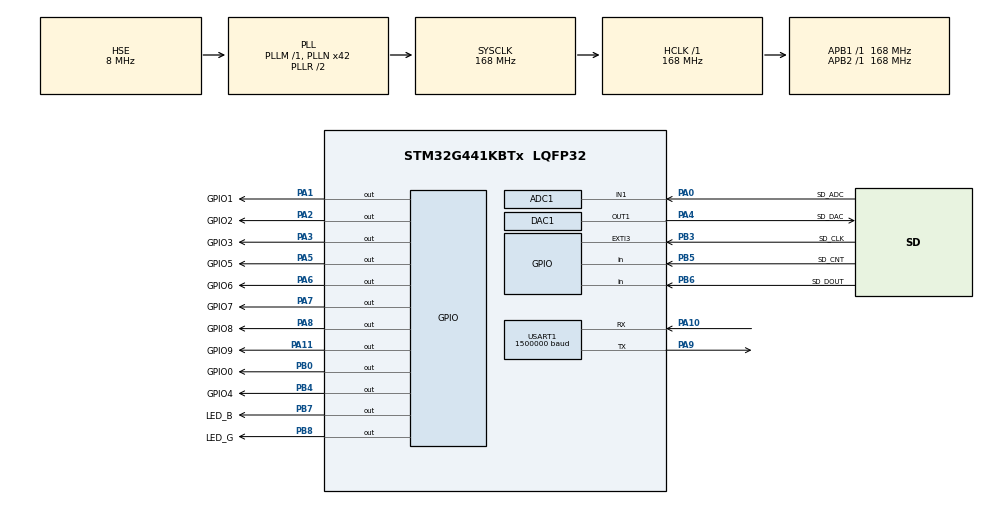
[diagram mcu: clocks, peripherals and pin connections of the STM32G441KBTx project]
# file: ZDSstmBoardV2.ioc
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ADC1.Channel-0\#ChannelRegularConversion=ADC_CHANNEL_1
ADC1.ClockPrescaler=ADC_CLOCK_ASYNC_DIV8
ADC1.NbrOfConversionFlag=1
ADC1.OffsetNumber-0\#ChannelRegularConversion=ADC_OFFSET_NONE
ADC1.Rank-0\#ChannelRegularConversion=1
ADC1.SamplingTime-0\#ChannelRegularConversion=ADC_SAMPLETIME_24CYCLES_5
ADC1.master=1
Dma.Request0=USART1_TX
Dma.USART1_TX.0.Direction=DMA_MEMORY_TO_PERIPH
Dma.USART1_TX.0.EventEnable=DISABLE
Dma.USART1_TX.0.Instance=DMA1_Channel1
Dma.USART1_TX.0.MemDataAlignment=DMA_MDATAALIGN_BYTE
Dma.USART1_TX.0.MemInc=DMA_MINC_ENABLE
Dma.USART1_TX.0.Mode=DMA_NORMAL
Dma.USART1_TX.0.PeriphDataAlignment=DMA_PDATAALIGN_BYTE
Dma.USART1_TX.0.PeriphInc=DMA_PINC_DISABLE
Dma.USART1_TX.0.Polarity=HAL_DMAMUX_REQ_GEN_RISING
Dma.USART1_TX.0.Priority=DMA_PRIORITY_LOW
Dma.USART1_TX.0.RequestNumber=1
Dma.USART1_TX.0.SignalID=NONE
Dma.USART1_TX.0.SyncEnable=DISABLE
Dma.USART1_TX.0.SyncPolarity=HAL_DMAMUX_SYNC_NO_EVENT
Dma.USART1_TX.0.SyncRequestNumber=1
Dma.USART1_TX.0.SyncSignalID=NONE
Mcu.Family=STM32G4
Mcu.Name=STM32G441KBTx
Mcu.Package=LQFP32
NVIC.ADC1_2_IRQn=true\:0\:0\:false\:false\:true\:true\:true\:true
NVIC.DMA1_Channel1_IRQn=true\:0\:0\:false\:false\:true\:false\:true\:true
NVIC.EXTI3_IRQn=true\:0\:0\:false\:false\:false\:true\:true\:true
NVIC.PriorityGroup=NVIC_PRIORITYGROUP_4
NVIC.TIM3_IRQn=true\:0\:0\:false\:false\:true\:true\:true\:true
NVIC.TIM4_IRQn=true\:0\:0\:false\:false\:true\:true\:true\:true
NVIC.USART1_IRQn=true\:0\:0\:false\:false\:true\:true\:true\:true
PA0.GPIO_Label=SD_ADC
PA0.Mode=IN1-Single-Ended
PA0.Signal=ADC1_IN1
PA1.GPIO_Label=GPIO1
PA1.Signal=GPIO_Output
PA10.Mode=Asynchronous
PA10.Signal=USART1_RX
PA11.GPIO_Label=GPIO9
PA11.Signal=GPIO_Output
PA13.Mode=Serial_Wire
PA13.Signal=SYS_JTMS-SWDIO
PA14.Mode=Serial_Wire
PA14.Signal=SYS_JTCK-SWCLK
PA2.GPIO_Label=GPIO2
PA2.Signal=GPIO_Output
PA3.GPIO_Label=GPIO3
PA3.Signal=GPIO_Output
PA4.GPIO_Label=SD_DAC
PA4.Signal=COMP_DAC11_group
PA5.GPIO_Label=GPIO5
PA5.Signal=GPIO_Output
PA6.GPIO_Label=GPIO6
PA6.Signal=GPIO_Output
PA7.GPIO_Label=GPIO7
PA7.Signal=GPIO_Output
PA8.GPIO_Label=GPIO8
PA8.Signal=GPIO_Output
PA9.Mode=Asynchronous
PA9.Signal=USART1_TX
PB0.GPIO_Label=GPIO0
PB0.Signal=GPIO_Output
PB3.GPIO_Label=SD_CLK
PB3.GPIO_ModeDefaultEXTI=GPIO_MODE_IT_FALLING
PB3.Signal=GPXTI3
PB4.GPIO_Label=GPIO4
PB4.Signal=GPIO_Output
PB5.GPIO_Label=SD_CNT
PB5.Signal=GPIO_Input
PB6.GPIO_Label=SD_DOUT
PB6.Signal=GPIO_Input
PB7.GPIO_Label=LED_B
PB7.Signal=GPIO_Output
PB8-BOOT0.GPIO_Label=LED_G
PB8-BOOT0.Signal=GPIO_Output
PF0-OSC_IN.Mode=HSE-External-Oscillator
PF0-OSC_IN.Signal=RCC_OSC_IN
PF1-OSC_OUT.Mode=HSE-External-Oscillator
PF1-OSC_OUT.Signal=RCC_OSC_OUT
ProjectManager.HeapSize=0x200
ProjectManager.StackSize=0x400
ProjectManager.TargetToolchain=STM32CubeIDE
RCC.ADC12Freq_Value=168000000
RCC.AHBFreq_Value=168000000
RCC.APB1Freq_Value=168000000
RCC.APB1TimFreq_Value=168000000
RCC.APB2Freq_Value=168000000
RCC.APB2TimFreq_Value=168000000
RCC.CortexFreq_Value=168000000
RCC.EXTERNAL_CLOCK_VALUE=12288000
RCC.HCLKFreq_Value=168000000
RCC.HSE_VALUE=8000000
RCC.HSI48_VALUE=48000000
RCC.HSI_VALUE=16000000
RCC.LSE_VALUE=32768
RCC.PLLN=42
RCC.PLLSourceVirtual=RCC_PLLSOURCE_HSE
RCC.SYSCLKFreq_VALUE=168000000
RCC.SYSCLKSource=RCC_SYSCLKSOURCE_PLLCLK
RCC.USBFreq_Value=168000000
RCC.VCOOutputFreq_Value=336000000
SH.COMP_DAC11_group.0=DAC1_OUT1,DAC_OUT1
TIM2.Prescaler=167
TIM3.PeriodNoDither=16799
TIM3.Prescaler=9
TIM4.PeriodNoDither=999
TIM4.Prescaler=167
USART1.BaudRate=1500000
USART1.VirtualMode-Asynchronous=VM_ASYNC
VP_TIM2_VS_ClockSourceINT.Mode=Internal
VP_TIM3_VS_ClockSourceINT.Mode=Internal
VP_TIM4_VS_ClockSourceINT.Mode=Internal
board=custom

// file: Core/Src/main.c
/* USER CODE BEGIN Header */
/**
  ******************************************************************************
  * @file           : main.c
  * @brief          : Main program body
  ******************************************************************************
  * @attention
  *
  * Copyright (c) 2024 STMicroelectronics.
  * All rights reserved.
  *
  * This software is licensed under terms that can be found in the LICENSE file
  * in the root directory of this software component.
  * If no LICENSE file comes with this software, it is provided AS-IS.
  *
  ******************************************************************************
  */
/* USER CODE END Header */
#include "main.h"

/* USER CODE BEGIN Includes */
#include "fir.h"

/* USER CODE END Includes */

ADC_HandleTypeDef hadc1;

DAC_HandleTypeDef hdac1;

TIM_HandleTypeDef htim2;
TIM_HandleTypeDef htim3;
TIM_HandleTypeDef htim4;

UART_HandleTypeDef huart1;
DMA_HandleTypeDef hdma_usart1_tx;

void SystemClock_Config(void);
static void MX_GPIO_Init(void);
static void MX_DMA_Init(void);
static void MX_ADC1_Init(void);
static void MX_DAC1_Init(void);
static void MX_USART1_UART_Init(void);
static void MX_TIM3_Init(void);
static void MX_TIM2_Init(void);
static void MX_TIM4_Init(void);
/* USER CODE BEGIN PFP */
volatile uint16_t clockCounter = 0;
volatile int32_t decRatio = 32; // 14bit output
volatile uint8_t sendFlag = 0;
volatile uint8_t uartDmaFlag = 0;
volatile uint8_t dmaBuff[128]={'t','e','s','t','\r','\n'};
volatile uint8_t dmaSize = 0;

uint8_t printNumToBuff(uint8_t offset, uint8_t *buff, int32_t val, uint8_t dig, uint8_t signs) ;
volatile int32_t actFirValDec = 0;
volatile uint8_t actAdcFlag = 0;
volatile uint8_t adcRunning = 0;
volatile int32_t actFirVal = 0;
volatile int32_t actAdcVal = 0;
volatile float outValue = 0;
volatile int32_t accValue = 0;

#define OFFmode	0
#define FIRmode	1
#define MAmode	2
#define SARmode	3
#define RAWmode	4
#define SINCmode 5
#define TRACKmode 6

volatile uint8_t mode = OFFmode;
volatile uint8_t rxData = 0;

volatile int64_t Integrator_1 = 0;
volatile int64_t Integrator_2 = 0;
volatile int64_t Integrator_3 = 0;
volatile int64_t Integrator_3_d2 = 0;
volatile int64_t diff_1 = 0;
volatile int64_t diff_2 = 0;
volatile int64_t diff_3 = 0;
volatile int64_t diff_1_d = 0;
volatile int64_t diff_2_d = 0;

volatile int32_t uartRxCt=0;
volatile int32_t uartTxCt=0;
volatile float MAoutput = 0;

#define LOW		0
#define HIGH	1
volatile int32_t adcTrackingCount = 0;
volatile int32_t test_cnt = 0;

MovingAverage_t ma_filter;
volatile uint32_t lastDecRatio = 0;

/* USER CODE END PFP */

/* USER CODE BEGIN 0 */
void sincReset(void){
	diff_1  = 0;
	diff_3 = 0;
	diff_2 = 0;
	diff_1_d = 0;
	diff_2_d = 0;
	Integrator_1 = 0;
	Integrator_2 = 0;
	Integrator_3 = 0;
	Integrator_3_d2 = 0;
}

void HAL_UART_RxCpltCallback(UART_HandleTypeDef *huart){
	uartRxCt=200;

	Integrator_1 =0;
	Integrator_2 =0;
	Integrator_3 =0;

	switch(rxData){

		case 'h': mode = SARmode; decRatio = 1;    break; // SAR 0 0 ... up to 5 kHz
		case 'i': mode = RAWmode; decRatio = 1;    break; // RAW (1/0) ... up to 50 kHz

		case 'j': mode = SINCmode; decRatio = 32;   break; // SAR SINC MA ... up to 100kHz
		case 'k': mode = SINCmode; decRatio = 64;   break; // SAR SINC MA ... up to 100kHz
		case 'l': mode = SINCmode; decRatio = 128;  break; // SAR SINC MA ... up to 100kHz
		case 'm': mode = SINCmode; decRatio = 256;  break; // SAR SINC MA ... up to 100kHz
		case 'n': mode = SINCmode; decRatio = 512;  break; // SAR SINC MA ... up to 100kHz
		case 'o': mode = SINCmode; decRatio = 1024; break; // SAR SINC MA ... up to 100kHz

		case 'r': mode = TRACKmode; htim4.Instance->ARR = 999; break; // 1kHz
		case 's': mode = TRACKmode; htim4.Instance->ARR = 99; break; // 10kHz
		case 't': mode = TRACKmode; htim4.Instance->ARR = 19; break; // 50kHz

		default: break;
	}
	if(lastDecRatio != decRatio){
		lastDecRatio = decRatio;
		MovingAverage_SetSize(&ma_filter, decRatio);
		sincReset();
	}

	  UART_Start_Receive_IT(&huart1, (uint8_t*)&rxData, 1);
}

void EXTI3_IRQHandler(void){
	if(__HAL_GPIO_EXTI_GET_IT(SD_CLK_Pin) != 0x00u) {
	    __HAL_GPIO_EXTI_CLEAR_IT(SD_CLK_Pin);
	    if(mode!=RAWmode){
    	if(mode!=SARmode){
    		if(mode!=OFFmode){
    			int32_t data_in = 0;
				if(HAL_GPIO_ReadPin(SD_DOUT_GPIO_Port, SD_DOUT_Pin)==GPIO_PIN_RESET){
					//accValue += 10000;
					data_in = 1;
					//if(mode == FIRmode){
					//	actFirVal = updateFIR(+10000);
					//}
				}else{
					//accValue -= 10000;
					data_in = -1;
					//if(mode == FIRmode){
					//	actFirVal = updateFIR(-10000);
					//}
				}
		        MAoutput = MovingAverage_Update(&ma_filter, data_in*10000);

				if(clockCounter<(decRatio-1)){
					clockCounter++;
				}else{
					clockCounter=0;

					diff_3 = diff_2 - diff_2_d;
					diff_2_d = diff_2;
					diff_2 = diff_1 - diff_1_d;
					diff_1_d = diff_1;
					diff_1 = Integrator_3 - Integrator_3_d2;
					Integrator_3_d2 = Integrator_3;

					outValue = diff_3*10000.0f;

					accValue = 0;
					sendFlag = 1;
					if(adcRunning==0){
						HAL_ADC_Start_IT(&hadc1);
						adcRunning = 1;
					}
				}
				Integrator_3 += Integrator_2;
				Integrator_2 += Integrator_1;
				Integrator_1 += data_in;
    		}
    	}else{
			actFirValDec = 0;
			outValue = 0;
			sendFlag = 1;
    		if(adcRunning==0){
    	 	  HAL_ADC_Start_IT(&hadc1);
    	 	  adcRunning = 1;
    		}
			}
		} else {
			if (HAL_GPIO_ReadPin(SD_DOUT_GPIO_Port, SD_DOUT_Pin) == GPIO_PIN_RESET) {
				if (uartDmaFlag == 0) {
					dmaSize = 0;
					*(dmaBuff + dmaSize) = '0';
					dmaSize++;
					*(dmaBuff + dmaSize) = '\n';
					dmaSize++;
					HAL_UART_Transmit_DMA(&huart1, (uint8_t*)dmaBuff, dmaSize);
					uartDmaFlag = 1;
				}
			} else {
				if (uartDmaFlag == 0) {
					dmaSize = 0;
					*(dmaBuff + dmaSize) = '1';
					dmaSize++;
					*(dmaBuff + dmaSize) = '\n';
					dmaSize++;
					HAL_UART_Transmit_DMA(&huart1, (uint8_t*)dmaBuff, dmaSize);
					uartDmaFlag = 1;
				}
			}
		}
	}
}

void HAL_UART_TxCpltCallback(UART_HandleTypeDef *huart){
	uartDmaFlag  = 0;
	uartTxCt=200;
}

uint8_t printNumToBuff(uint8_t offset, uint8_t *buff, int32_t val, uint8_t dig, uint8_t signs) {
	uint8_t pos = offset;
	uint8_t i = 0;
	uint8_t digits[40];

	if (val < 0) {
		val *= -1;
		*(buff+pos) = '-';
		pos++;
	} else {
		if(signs){
			*(buff+pos) = '+';
			pos++;
		}
	}

		while (val > 0) {
			digits[i] = val % 10;
			val /= 10;
			i++;
		}
		for (uint8_t x = dig; x > 0; x--) {
			if (i < x) {
				*(buff+pos) = '0';
				pos++;
			}
		}
		for (uint8_t x = 0; x < i; x++) {
			*(buff+pos)  = digits[i - x - 1] + 0x30;
			pos++;
		}
		return pos;
}

void HAL_ADC_ConvCpltCallback(ADC_HandleTypeDef *hadc){
	  adcRunning = 0;
	  actAdcVal = HAL_ADC_GetValue(hadc);
	  actAdcFlag = 1;
}

void myDelayUs(uint32_t time){
htim2.Instance->CNT = 0;
while((htim2.Instance->CNT)<time);
}

void writeGPIO(uint8_t pinNum, uint8_t state){
switch(pinNum){
case 0: if(state){HAL_GPIO_WritePin(GPIO0_GPIO_Port, GPIO0_Pin, GPIO_PIN_SET);}else{HAL_GPIO_WritePin(GPIO0_GPIO_Port, GPIO0_Pin, GPIO_PIN_RESET);} break;
case 1: if(state){HAL_GPIO_WritePin(GPIO1_GPIO_Port, GPIO1_Pin, GPIO_PIN_SET);}else{HAL_GPIO_WritePin(GPIO1_GPIO_Port, GPIO1_Pin, GPIO_PIN_RESET);}break;
case 2: if(state){HAL_GPIO_WritePin(GPIO2_GPIO_Port, GPIO2_Pin, GPIO_PIN_SET);}else{HAL_GPIO_WritePin(GPIO2_GPIO_Port, GPIO2_Pin, GPIO_PIN_RESET);}break;
case 3: if(state){HAL_GPIO_WritePin(GPIO3_GPIO_Port, GPIO3_Pin, GPIO_PIN_SET);}else{HAL_GPIO_WritePin(GPIO3_GPIO_Port, GPIO3_Pin, GPIO_PIN_RESET);}break;
case 4: if(state){HAL_GPIO_WritePin(GPIO4_GPIO_Port, GPIO4_Pin, GPIO_PIN_SET);}else{HAL_GPIO_WritePin(GPIO4_GPIO_Port, GPIO4_Pin, GPIO_PIN_RESET);}break;
case 5: if(state){HAL_GPIO_WritePin(GPIO5_GPIO_Port, GPIO5_Pin, GPIO_PIN_SET);}else{HAL_GPIO_WritePin(GPIO5_GPIO_Port, GPIO5_Pin, GPIO_PIN_RESET);}break;
case 6: if(state){HAL_GPIO_WritePin(GPIO6_GPIO_Port, GPIO6_Pin, GPIO_PIN_SET);}else{HAL_GPIO_WritePin(GPIO6_GPIO_Port, GPIO6_Pin, GPIO_PIN_RESET);}break;
case 7: if(state){HAL_GPIO_WritePin(GPIO7_GPIO_Port, GPIO7_Pin, GPIO_PIN_SET);}else{HAL_GPIO_WritePin(GPIO7_GPIO_Port, GPIO7_Pin, GPIO_PIN_RESET);}break;
case 8: if(state){HAL_GPIO_WritePin(GPIO8_GPIO_Port, GPIO8_Pin, GPIO_PIN_SET);}else{HAL_GPIO_WritePin(GPIO8_GPIO_Port, GPIO8_Pin, GPIO_PIN_RESET);}break;
case 9: if(state){HAL_GPIO_WritePin(GPIO9_GPIO_Port, GPIO9_Pin, GPIO_PIN_SET);}else{HAL_GPIO_WritePin(GPIO9_GPIO_Port, GPIO9_Pin, GPIO_PIN_RESET);}break;
default: break;
}
}

void writeDACcode(uint8_t code){
writeGPIO(4, LOW);
if(code&1){writeGPIO(3, HIGH);}else{writeGPIO(3, LOW);}
if(code&2){writeGPIO(2, HIGH);}else{writeGPIO(2, LOW);}
if(code&4){writeGPIO(1, HIGH);}else{writeGPIO(1, LOW);}
if(code&8){writeGPIO(0, HIGH);}else{writeGPIO(0, LOW);}
myDelayUs(1);
writeGPIO(4, HIGH);
myDelayUs(1);
}

void adcTracking(void){
	if(HAL_GPIO_ReadPin(SD_CNT_GPIO_Port, SD_CNT_Pin)==GPIO_PIN_SET){
		adcTrackingCount--;
	}else{
		adcTrackingCount++;
	}
	if(adcTrackingCount<0){
		adcTrackingCount = 0;
	}
	if(adcTrackingCount>15){
		adcTrackingCount = 15;
	}
	writeDACcode(adcTrackingCount);
	if(uartDmaFlag == 0){
		dmaSize = 1;
		*(dmaBuff+0) = adcTrackingCount;
		HAL_UART_Transmit_IT(&huart1, (uint8_t*)dmaBuff, dmaSize);
		uartDmaFlag = 1;
	}
}

void HAL_TIM_PeriodElapsedCallback(TIM_HandleTypeDef *htim){
if(htim==&htim3){
	if(uartRxCt>0){
		HAL_GPIO_WritePin(LED_B_GPIO_Port, LED_B_Pin, GPIO_PIN_SET);
		uartRxCt--;
	}else{
		HAL_GPIO_WritePin(LED_B_GPIO_Port, LED_B_Pin, GPIO_PIN_RESET);
	}
	if(uartTxCt>0){
		HAL_GPIO_WritePin(LED_G_GPIO_Port, LED_G_Pin, GPIO_PIN_SET);
		uartTxCt--;
	}else{
		HAL_GPIO_WritePin(LED_G_GPIO_Port, LED_G_Pin, GPIO_PIN_RESET);
	}
}
if(htim==&htim4){
	if(mode==TRACKmode){
		adcTracking();
	}
}
}

/* USER CODE END 0 */

int main(void)
{

  /* MCU Configuration--------------------------------------------------------*/

  /* Reset of all peripherals, Initializes the Flash interface and the Systick. */
  HAL_Init();

  /* USER CODE BEGIN Init */
  HAL_Delay(1000);
  /* USER CODE END Init */

  /* Configure the system clock */
  SystemClock_Config();

  /* Initialize all configured peripherals */
  MX_GPIO_Init();
  MX_DMA_Init();
  MX_ADC1_Init();
  MX_DAC1_Init();
  MX_USART1_UART_Init();
  MX_TIM3_Init();
  MX_TIM2_Init();
  MX_TIM4_Init();
  /* USER CODE BEGIN 2 */

  MovingAverage_Init(&ma_filter, 32);

  HAL_TIM_Base_Start(&htim2);
  HAL_Delay(100);
  for(uint8_t i=0;i<5;i++){
	  HAL_GPIO_WritePin(LED_B_GPIO_Port, LED_B_Pin, GPIO_PIN_SET);
	  HAL_GPIO_WritePin(LED_G_GPIO_Port, LED_G_Pin, GPIO_PIN_SET);
	  HAL_Delay(250);
	  HAL_GPIO_WritePin(LED_B_GPIO_Port, LED_B_Pin, GPIO_PIN_RESET);
	  HAL_GPIO_WritePin(LED_G_GPIO_Port, LED_G_Pin, GPIO_PIN_RESET);
	  HAL_Delay(250);
  }
  UART_Start_Receive_IT(&huart1, (uint8_t*)&rxData, 1);
  HAL_TIM_Base_Start_IT(&htim3);
  HAL_TIM_Base_Start_IT(&htim4);

  /* USER CODE END 2 */

  /* Infinite loop */
  while (1)
  {

    /* USER CODE BEGIN 3 */
	  if((mode!=RAWmode)&&(mode!=OFFmode)&&(mode!=TRACKmode)&&(sendFlag==1)&&(actAdcFlag==1)){
		  if(uartDmaFlag == 0){
			  dmaSize = printNumToBuff(0, (uint8_t*)dmaBuff, actAdcVal, 1, 1);
			  *(dmaBuff+dmaSize) = ' ';
			  dmaSize++;
			  dmaSize = printNumToBuff(dmaSize, (uint8_t*)dmaBuff, outValue/(decRatio*decRatio*decRatio), 1, 1);
			  *(dmaBuff+dmaSize) = ' ';
			  dmaSize++;
			  dmaSize = printNumToBuff(dmaSize, (uint8_t*)dmaBuff, MAoutput, 1, 1);
			  *(dmaBuff+dmaSize) = '\r';
			  dmaSize++;
			  *(dmaBuff+dmaSize) = '\n';
			  dmaSize++;
			  HAL_UART_Transmit_DMA(&huart1, (uint8_t*)dmaBuff, dmaSize);
			  uartDmaFlag = 1;
		  }
		  sendFlag = 0;
		  actAdcFlag = 0;
	  }else if(mode==OFFmode){
		  if(uartDmaFlag == 0){
			  dmaSize = printNumToBuff(0, (uint8_t*)dmaBuff, test_cnt, 1, 1);
			  *(dmaBuff+dmaSize) = ' ';
			  dmaSize++;
			  dmaSize = printNumToBuff(dmaSize, (uint8_t*)dmaBuff, test_cnt, 1, 1);
			  *(dmaBuff+dmaSize) = ' ';
			  dmaSize++;
			  dmaSize = printNumToBuff(dmaSize, (uint8_t*)dmaBuff, test_cnt, 1, 1);
			  *(dmaBuff+dmaSize) = '\r';
			  dmaSize++;
			  *(dmaBuff+dmaSize) = '\n';
			  dmaSize++;
			  HAL_UART_Transmit_DMA(&huart1, (uint8_t*)dmaBuff, dmaSize);
			  uartDmaFlag = 1;
			  test_cnt++;
			  if(test_cnt>1000){
				  test_cnt=-1000;
			  }
		  }
		  HAL_Delay(100);
	  }
  }
  /* USER CODE END 3 */
}

void SystemClock_Config(void)
{
  RCC_OscInitTypeDef RCC_OscInitStruct = {0};
  RCC_ClkInitTypeDef RCC_ClkInitStruct = {0};

  /** Configure the main internal regulator output voltage
  */
  HAL_PWREx_ControlVoltageScaling(PWR_REGULATOR_VOLTAGE_SCALE1_BOOST);

  /** Initializes the RCC Oscillators according to the specified parameters
  * in the RCC_OscInitTypeDef structure.
  */
  RCC_OscInitStruct.OscillatorType = RCC_OSCILLATORTYPE_HSE;
  RCC_OscInitStruct.HSEState = RCC_HSE_ON;
  RCC_OscInitStruct.PLL.PLLState = RCC_PLL_ON;
  RCC_OscInitStruct.PLL.PLLSource = RCC_PLLSOURCE_HSE;
  RCC_OscInitStruct.PLL.PLLM = RCC_PLLM_DIV1;
  RCC_OscInitStruct.PLL.PLLN = 42;
  RCC_OscInitStruct.PLL.PLLP = RCC_PLLP_DIV2;
  RCC_OscInitStruct.PLL.PLLQ = RCC_PLLQ_DIV2;
  RCC_OscInitStruct.PLL.PLLR = RCC_PLLR_DIV2;
  if (HAL_RCC_OscConfig(&RCC_OscInitStruct) != HAL_OK)
  {
    Error_Handler();
  }

  /** Initializes the CPU, AHB and APB buses clocks
  */
  RCC_ClkInitStruct.ClockType = RCC_CLOCKTYPE_HCLK|RCC_CLOCKTYPE_SYSCLK
                              |RCC_CLOCKTYPE_PCLK1|RCC_CLOCKTYPE_PCLK2;
  RCC_ClkInitStruct.SYSCLKSource = RCC_SYSCLKSOURCE_PLLCLK;
  RCC_ClkInitStruct.AHBCLKDivider = RCC_SYSCLK_DIV1;
  RCC_ClkInitStruct.APB1CLKDivider = RCC_HCLK_DIV1;
  RCC_ClkInitStruct.APB2CLKDivider = RCC_HCLK_DIV1;

  if (HAL_RCC_ClockConfig(&RCC_ClkInitStruct, FLASH_LATENCY_4) != HAL_OK)
  {
    Error_Handler();
  }
}

static void MX_ADC1_Init(void)
{

  ADC_MultiModeTypeDef multimode = {0};
  ADC_ChannelConfTypeDef sConfig = {0};

  /** Common config
  */
  hadc1.Instance = ADC1;
  hadc1.Init.ClockPrescaler = ADC_CLOCK_ASYNC_DIV8;
  hadc1.Init.Resolution = ADC_RESOLUTION_12B;
  hadc1.Init.DataAlign = ADC_DATAALIGN_RIGHT;
  hadc1.Init.GainCompensation = 0;
  hadc1.Init.ScanConvMode = ADC_SCAN_DISABLE;
  hadc1.Init.EOCSelection = ADC_EOC_SINGLE_CONV;
  hadc1.Init.LowPowerAutoWait = DISABLE;
  hadc1.Init.ContinuousConvMode = DISABLE;
  hadc1.Init.NbrOfConversion = 1;
  hadc1.Init.DiscontinuousConvMode = DISABLE;
  hadc1.Init.ExternalTrigConv = ADC_SOFTWARE_START;
  hadc1.Init.ExternalTrigConvEdge = ADC_EXTERNALTRIGCONVEDGE_NONE;
  hadc1.Init.DMAContinuousRequests = DISABLE;
  hadc1.Init.Overrun = ADC_OVR_DATA_PRESERVED;
  hadc1.Init.OversamplingMode = DISABLE;
  if (HAL_ADC_Init(&hadc1) != HAL_OK)
  {
    Error_Handler();
  }

  /** Configure the ADC multi-mode
  */
  multimode.Mode = ADC_MODE_INDEPENDENT;
  if (HAL_ADCEx_MultiModeConfigChannel(&hadc1, &multimode) != HAL_OK)
  {
    Error_Handler();
  }

  /** Configure Regular Channel
  */
  sConfig.Channel = ADC_CHANNEL_1;
  sConfig.Rank = ADC_REGULAR_RANK_1;
  sConfig.SamplingTime = ADC_SAMPLETIME_24CYCLES_5;
  sConfig.SingleDiff = ADC_SINGLE_ENDED;
  sConfig.OffsetNumber = ADC_OFFSET_NONE;
  sConfig.Offset = 0;
  if (HAL_ADC_ConfigChannel(&hadc1, &sConfig) != HAL_OK)
  {
    Error_Handler();
  }

}

static void MX_DAC1_Init(void)
{

  DAC_ChannelConfTypeDef sConfig = {0};

  /** DAC Initialization
  */
  hdac1.Instance = DAC1;
  if (HAL_DAC_Init(&hdac1) != HAL_OK)
  {
    Error_Handler();
  }

  /** DAC channel OUT1 config
  */
  sConfig.DAC_HighFrequency = DAC_HIGH_FREQUENCY_INTERFACE_MODE_AUTOMATIC;
  sConfig.DAC_DMADoubleDataMode = DISABLE;
  sConfig.DAC_SignedFormat = DISABLE;
  sConfig.DAC_SampleAndHold = DAC_SAMPLEANDHOLD_DISABLE;
  sConfig.DAC_Trigger = DAC_TRIGGER_NONE;
  sConfig.DAC_Trigger2 = DAC_TRIGGER_NONE;
  sConfig.DAC_OutputBuffer = DAC_OUTPUTBUFFER_ENABLE;
  sConfig.DAC_ConnectOnChipPeripheral = DAC_CHIPCONNECT_EXTERNAL;
  sConfig.DAC_UserTrimming = DAC_TRIMMING_FACTORY;
  if (HAL_DAC_ConfigChannel(&hdac1, &sConfig, DAC_CHANNEL_1) != HAL_OK)
  {
    Error_Handler();
  }

}

static void MX_TIM2_Init(void)
{

  TIM_ClockConfigTypeDef sClockSourceConfig = {0};
  TIM_MasterConfigTypeDef sMasterConfig = {0};

  htim2.Instance = TIM2;
  htim2.Init.Prescaler = 167;
  htim2.Init.CounterMode = TIM_COUNTERMODE_UP;
  htim2.Init.Period = 4.294967295E9;
  htim2.Init.ClockDivision = TIM_CLOCKDIVISION_DIV1;
  htim2.Init.AutoReloadPreload = TIM_AUTORELOAD_PRELOAD_DISABLE;
  if (HAL_TIM_Base_Init(&htim2) != HAL_OK)
  {
    Error_Handler();
  }
  sClockSourceConfig.ClockSource = TIM_CLOCKSOURCE_INTERNAL;
  if (HAL_TIM_ConfigClockSource(&htim2, &sClockSourceConfig) != HAL_OK)
  {
    Error_Handler();
  }
  sMasterConfig.MasterOutputTrigger = TIM_TRGO_RESET;
  sMasterConfig.MasterSlaveMode = TIM_MASTERSLAVEMODE_DISABLE;
  if (HAL_TIMEx_MasterConfigSynchronization(&htim2, &sMasterConfig) != HAL_OK)
  {
    Error_Handler();
  }

}

static void MX_TIM3_Init(void)
{

  TIM_ClockConfigTypeDef sClockSourceConfig = {0};
  TIM_MasterConfigTypeDef sMasterConfig = {0};

  htim3.Instance = TIM3;
  htim3.Init.Prescaler = 9;
  htim3.Init.CounterMode = TIM_COUNTERMODE_UP;
  htim3.Init.Period = 16799;
  htim3.Init.ClockDivision = TIM_CLOCKDIVISION_DIV1;
  htim3.Init.AutoReloadPreload = TIM_AUTORELOAD_PRELOAD_DISABLE;
  if (HAL_TIM_Base_Init(&htim3) != HAL_OK)
  {
    Error_Handler();
  }
  sClockSourceConfig.ClockSource = TIM_CLOCKSOURCE_INTERNAL;
  if (HAL_TIM_ConfigClockSource(&htim3, &sClockSourceConfig) != HAL_OK)
  {
    Error_Handler();
  }
  sMasterConfig.MasterOutputTrigger = TIM_TRGO_RESET;
  sMasterConfig.MasterSlaveMode = TIM_MASTERSLAVEMODE_DISABLE;
  if (HAL_TIMEx_MasterConfigSynchronization(&htim3, &sMasterConfig) != HAL_OK)
  {
    Error_Handler();
  }

}

static void MX_TIM4_Init(void)
{

  TIM_ClockConfigTypeDef sClockSourceConfig = {0};
  TIM_MasterConfigTypeDef sMasterConfig = {0};

  htim4.Instance = TIM4;
  htim4.Init.Prescaler = 167;
  htim4.Init.CounterMode = TIM_COUNTERMODE_UP;
  htim4.Init.Period = 999;
  htim4.Init.ClockDivision = TIM_CLOCKDIVISION_DIV1;
  htim4.Init.AutoReloadPreload = TIM_AUTORELOAD_PRELOAD_DISABLE;
  if (HAL_TIM_Base_Init(&htim4) != HAL_OK)
  {
    Error_Handler();
  }
  sClockSourceConfig.ClockSource = TIM_CLOCKSOURCE_INTERNAL;
  if (HAL_TIM_ConfigClockSource(&htim4, &sClockSourceConfig) != HAL_OK)
  {
    Error_Handler();
  }
  sMasterConfig.MasterOutputTrigger = TIM_TRGO_RESET;
  sMasterConfig.MasterSlaveMode = TIM_MASTERSLAVEMODE_DISABLE;
  if (HAL_TIMEx_MasterConfigSynchronization(&htim4, &sMasterConfig) != HAL_OK)
  {
    Error_Handler();
  }

}

static void MX_USART1_UART_Init(void)
{

  huart1.Instance = USART1;
  huart1.Init.BaudRate = 1500000;
  huart1.Init.WordLength = UART_WORDLENGTH_8B;
  huart1.Init.StopBits = UART_STOPBITS_1;
  huart1.Init.Parity = UART_PARITY_NONE;
  huart1.Init.Mode = UART_MODE_TX_RX;
  huart1.Init.HwFlowCtl = UART_HWCONTROL_NONE;
  huart1.Init.OverSampling = UART_OVERSAMPLING_16;
  huart1.Init.OneBitSampling = UART_ONE_BIT_SAMPLE_DISABLE;
  huart1.Init.ClockPrescaler = UART_PRESCALER_DIV1;
  huart1.AdvancedInit.AdvFeatureInit = UART_ADVFEATURE_NO_INIT;
  if (HAL_UART_Init(&huart1) != HAL_OK)
  {
    Error_Handler();
  }
  if (HAL_UARTEx_SetTxFifoThreshold(&huart1, UART_TXFIFO_THRESHOLD_1_8) != HAL_OK)
  {
    Error_Handler();
  }
  if (HAL_UARTEx_SetRxFifoThreshold(&huart1, UART_RXFIFO_THRESHOLD_1_8) != HAL_OK)
  {
    Error_Handler();
  }
  if (HAL_UARTEx_DisableFifoMode(&huart1) != HAL_OK)
  {
    Error_Handler();
  }

}

static void MX_DMA_Init(void)
{

  /* DMA controller clock enable */
  __HAL_RCC_DMAMUX1_CLK_ENABLE();
  __HAL_RCC_DMA1_CLK_ENABLE();

  /* DMA interrupt init */
  /* DMA1_Channel1_IRQn interrupt configuration */
  HAL_NVIC_SetPriority(DMA1_Channel1_IRQn, 0, 0);
  HAL_NVIC_EnableIRQ(DMA1_Channel1_IRQn);

}

static void MX_GPIO_Init(void)
{
  GPIO_InitTypeDef GPIO_InitStruct = {0};

  /* GPIO Ports Clock Enable */
  __HAL_RCC_GPIOF_CLK_ENABLE();
  __HAL_RCC_GPIOA_CLK_ENABLE();
  __HAL_RCC_GPIOB_CLK_ENABLE();

  /*Configure GPIO pin Output Level */
  HAL_GPIO_WritePin(GPIOA, GPIO1_Pin|GPIO2_Pin|GPIO3_Pin|GPIO5_Pin
                          |GPIO6_Pin|GPIO7_Pin|GPIO8_Pin|GPIO9_Pin, GPIO_PIN_RESET);

  /*Configure GPIO pin Output Level */
  HAL_GPIO_WritePin(GPIOB, GPIO0_Pin|GPIO4_Pin|LED_B_Pin|LED_G_Pin, GPIO_PIN_RESET);

  /*Configure GPIO pins : GPIO1_Pin GPIO2_Pin GPIO3_Pin GPIO5_Pin
                           GPIO6_Pin GPIO7_Pin GPIO8_Pin GPIO9_Pin */
  GPIO_InitStruct.Pin = GPIO1_Pin|GPIO2_Pin|GPIO3_Pin|GPIO5_Pin
                          |GPIO6_Pin|GPIO7_Pin|GPIO8_Pin|GPIO9_Pin;
  GPIO_InitStruct.Mode = GPIO_MODE_OUTPUT_PP;
  GPIO_InitStruct.Pull = GPIO_NOPULL;
  GPIO_InitStruct.Speed = GPIO_SPEED_FREQ_LOW;
  HAL_GPIO_Init(GPIOA, &GPIO_InitStruct);

  /*Configure GPIO pins : GPIO0_Pin GPIO4_Pin LED_B_Pin LED_G_Pin */
  GPIO_InitStruct.Pin = GPIO0_Pin|GPIO4_Pin|LED_B_Pin|LED_G_Pin;
  GPIO_InitStruct.Mode = GPIO_MODE_OUTPUT_PP;
  GPIO_InitStruct.Pull = GPIO_NOPULL;
  GPIO_InitStruct.Speed = GPIO_SPEED_FREQ_LOW;
  HAL_GPIO_Init(GPIOB, &GPIO_InitStruct);

  /*Configure GPIO pin : SD_CLK_Pin */
  GPIO_InitStruct.Pin = SD_CLK_Pin;
  GPIO_InitStruct.Mode = GPIO_MODE_IT_FALLING;
  GPIO_InitStruct.Pull = GPIO_NOPULL;
  HAL_GPIO_Init(SD_CLK_GPIO_Port, &GPIO_InitStruct);

  /*Configure GPIO pins : SD_CNT_Pin SD_DOUT_Pin */
  GPIO_InitStruct.Pin = SD_CNT_Pin|SD_DOUT_Pin;
  GPIO_InitStruct.Mode = GPIO_MODE_INPUT;
  GPIO_InitStruct.Pull = GPIO_NOPULL;
  HAL_GPIO_Init(GPIOB, &GPIO_InitStruct);

  /* EXTI interrupt init*/
  HAL_NVIC_SetPriority(EXTI3_IRQn, 0, 0);
  HAL_NVIC_EnableIRQ(EXTI3_IRQn);

}

void Error_Handler(void)
{
  __disable_irq();
  while (1)
  {
  }
}
